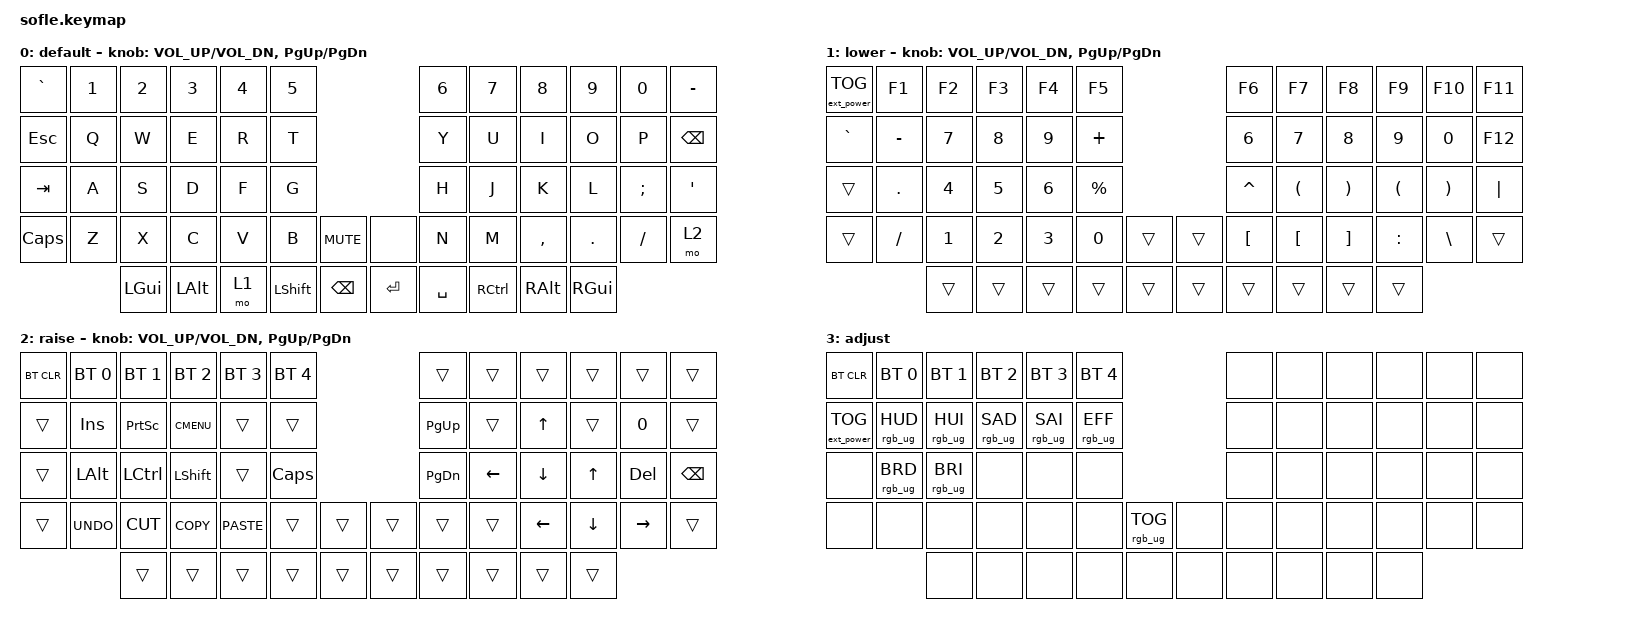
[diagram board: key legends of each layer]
/*
 * Copyright (c) 2020 The ZMK Contributors
 *
 * SPDX-License-Identifier: MIT
 */

#include <behaviors.dtsi>
#include <dt-bindings/zmk/bt.h>
#include <dt-bindings/zmk/ext_power.h>
#include <dt-bindings/zmk/keys.h>
#include <dt-bindings/zmk/rgb.h>

#define BASE 0
#define LOWER 1
#define RAISE 2
#define ADJUST 3

/ {
    // Activate ADJUST layer by pressing raise and lower

    conditional_layers {
        compatible = "zmk,conditional-layers";

        adjust_layer {
            if-layers = <LOWER RAISE>;
            then-layer = <ADJUST>;
        };
    };

    keymap {
        compatible = "zmk,keymap";

        default_layer {
            display-name = "default";

            // ------------------------------------------------------------------------------------------------------------
            // |   `   |  1  |  2  |  3   |  4   |  5   |                   |  6   |  7    |  8    |  9   |   0   |       |
            // |  ESC  |  Q  |  W  |  E   |  R   |  T   |                   |  Y   |  U    |  I    |  O   |   P   | BKSPC |
            // |  TAB  |  A  |  S  |  D   |  F   |  G   |                   |  H   |  J    |  K    |  L   |   ;   |   '   |
            // | SHIFT |  Z  |  X  |  C   |  V   |  B   |  MUTE  |  |       |  N   |  M    |  ,    |  .   |   /   | SHIFT |
            //               | GUI | ALT  | CTRL | LOWER|  ENTER |  | SPACE | RAISE| CTRL  | ALT   | GUI  |

            bindings = <
&kp GRAVE     &kp N1  &kp N2    &kp N3    &kp N4  &kp N5                                      &kp N6     &kp N7     &kp N8     &kp N9    &kp N0    &kp MINUS
&kp ESC       &kp Q   &kp W     &kp E     &kp R   &kp T                                       &kp Y      &kp U      &kp I      &kp O     &kp P     &kp BSPC
&kp TAB       &kp A   &kp S     &kp D     &kp F   &kp G                                       &kp H      &kp J      &kp K      &kp L     &kp SEMI  &kp SQT
&kp CAPSLOCK  &kp Z   &kp X     &kp C     &kp V   &kp B           &kp C_MUTE       &none      &kp N      &kp M      &kp COMMA  &kp DOT   &kp FSLH  &mo 2
                      &kp LGUI  &kp LALT  &mo 1   &kp LEFT_SHIFT  &kp BACKSPACE    &kp ENTER  &kp SPACE  &kp RCTRL  &kp RALT   &kp RGUI
            >;

            sensor-bindings = <&inc_dec_kp C_VOL_UP C_VOL_DN &inc_dec_kp PG_UP PG_DN>;
        };

        Symbols {
            display-name = "lower";

            // TODO: Some binds are waiting for shifted keycode support.
            // ------------------------------------------------------------------------------------------------------------
            // |       |  F1 |  F2 |  F3  |  F4  |  F5  |                   |  F6  |  F7   |  F8   |  F9  |  F10  |  F11  |
            // |   `   |  1  |  2  |  3   |  4   |  5   |                   |  6   |  7    |  8    |  9   |   0   |  F12  |
            // |       |  !  |  @  |  #   |  $   |  %   |                   |  ^   |  &    |  *    |  (   |   )   |   |   |
            // |       |  =  |  -  |  +   |  {   |  }   |        |  |       |  [   |  ]    |  ;    |  :   |   \   |       |
            //               |     |      |      |      |        |  |       |      |       |       |      |

            bindings = <
&ext_power EP_TOG  &kp F1      &kp F2        &kp F3        &kp F4        &kp F5                          &kp F6     &kp F7                &kp F8                 &kp F9     &kp F10   &kp F11
&kp GRAVE          &kp MINUS   &kp NUMBER_7  &kp NUMBER_8  &kp NUMBER_9  &kp PLUS                        &kp N6     &kp N7                &kp N8                 &kp N9     &kp N0    &kp F12
&trans             &kp PERIOD  &kp NUMBER_4  &kp NUMBER_5  &kp NUMBER_6  &kp PRCNT                       &kp CARET  &kp LEFT_PARENTHESIS  &kp RIGHT_PARENTHESIS  &kp LPAR   &kp RPAR  &kp PIPE
&trans             &kp SLASH   &kp NUMBER_1  &kp NUMBER_2  &kp NUMBER_3  &kp NUMBER_0  &trans    &trans  &kp LBKT   &kp LEFT_BRACKET      &kp RIGHT_BRACKET      &kp COLON  &kp BSLH  &trans
                               &trans        &trans        &trans        &trans        &trans    &trans  &trans     &trans                &trans                 &trans
            >;

            sensor-bindings = <&inc_dec_kp C_VOL_UP C_VOL_DN &inc_dec_kp PG_UP PG_DN>;
        };

        raise_layer {
            display-name = "raise";

            // ------------------------------------------------------------------------------------------------------------
            // | BTCLR | BT1  | BT2  |  BT3  |  BT4  |  BT5 |                |      |      |       |      |       |       |
            // |       | INS  | PSCR | GUI   |       |      |                | PGUP |      |   ^   |      |       |       |
            // |       | ALT  | CTRL | SHIFT |       | CAPS |                | PGDN |   <- |   v   |  ->  |  DEL  | BKSPC |
            // |       | UNDO | CUT  | COPY  | PASTE |      |      |  |      |      |      |       |      |       |       |
            //                |      |       |       |      |      |  |      |      |      |       |      |

            bindings = <
&bt BT_CLR  &bt BT_SEL 0  &bt BT_SEL 1  &bt BT_SEL 2  &bt BT_SEL 3  &bt BT_SEL 4                    &trans     &trans    &trans          &trans          &trans     &trans
&trans      &kp INS       &kp PSCRN     &kp K_CMENU   &trans        &trans                          &kp PG_UP  &trans    &kp UP          &trans          &kp N0     &trans
&trans      &kp LALT      &kp LCTRL     &kp LSHFT     &trans        &kp CLCK                        &kp PG_DN  &kp LEFT  &kp DOWN        &kp UP_ARROW    &kp DEL    &kp BSPC
&trans      &kp K_UNDO    &kp K_CUT     &kp K_COPY    &kp K_PASTE   &trans        &trans    &trans  &trans     &trans    &kp LEFT_ARROW  &kp DOWN_ARROW  &kp RIGHT  &trans
                          &trans        &trans        &trans        &trans        &trans    &trans  &trans     &trans    &trans          &trans
            >;

            sensor-bindings = <&inc_dec_kp C_VOL_UP C_VOL_DN &inc_dec_kp PG_UP PG_DN>;
        };

        adjust_layer {
            // ----------------------------------------------------------------------------------------------------------------------------
            // | BTCLR  |  BT1    |  BT2    |   BT3   |   BT4   |   BT5   |                  |      |      |       |      |       |       |
            // | EXTPWR | RGB_HUD | RGB_HUI | RGB_SAD | RGB_SAI | RGB_EFF |                  |      |      |       |      |       |       |
            // |        | RGB_BRD | RGB_BRI |         |         |         |                  |      |      |       |      |       |       |
            // |        |         |         |         |         |         | RGB_TOG | |      |      |      |       |      |       |       |
            //                    |         |         |         |         |         | |      |      |      |       |      |

            display-name = "adjust";
            bindings = <
&bt BT_CLR         &bt BT_SEL 0     &bt BT_SEL 1     &bt BT_SEL 2     &bt BT_SEL 3     &bt BT_SEL 4                               &none  &none  &none  &none  &none  &none
&ext_power EP_TOG  &rgb_ug RGB_HUD  &rgb_ug RGB_HUI  &rgb_ug RGB_SAD  &rgb_ug RGB_SAI  &rgb_ug RGB_EFF                            &none  &none  &none  &none  &none  &none
&none              &rgb_ug RGB_BRD  &rgb_ug RGB_BRI  &none            &none            &none                                      &none  &none  &none  &none  &none  &none
&none              &none            &none            &none            &none            &none            &rgb_ug RGB_TOG    &none  &none  &none  &none  &none  &none  &none
                                    &none            &none            &none            &none            &none              &none  &none  &none  &none  &none
            >;
        };
    };
};
